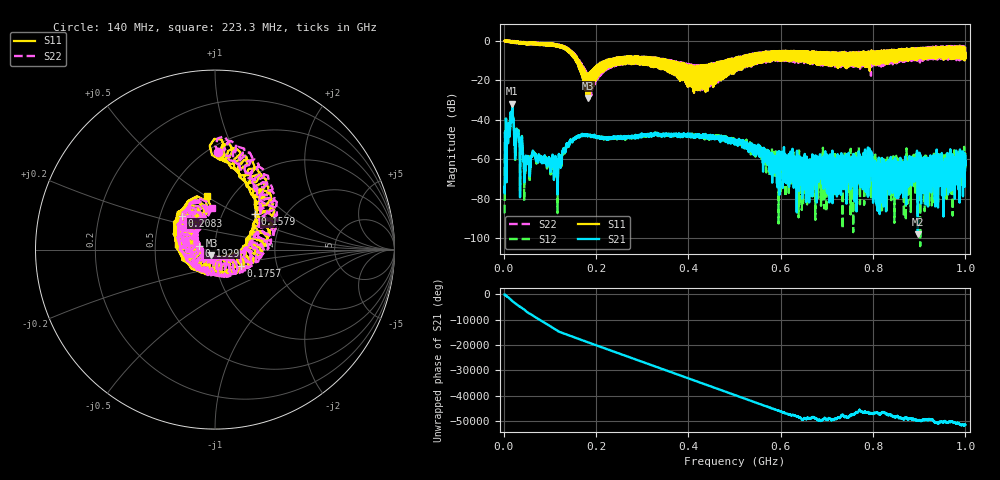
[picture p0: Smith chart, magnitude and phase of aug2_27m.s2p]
!Keysight Technologies N9923A: A.12.45
!Date: Saturday, 02 August 2025 19:16:05
!Timezone: (UTC+08:00) Kuala Lumpur, Singapore
!Model: N9923A
!Serial: MY61181427
!GPS Latitude:
!GPS Longitude:
!GPS TimeStamp: 0001-01-01 00:00:00Z
!GPS Seconds Since Last Read: 0
!CHECKSUM:0630107796
!Correction: S11(ON U)S21(ON U)S12(ON U)S22(ON U)
!S2P File: Measurements:S11,S21,S12,S22:
# Hz S DB R 50
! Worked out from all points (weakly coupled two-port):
!   4001 points, 2 MHz to 1 GHz, reference 50 ohm
!   highest |S21| = -31.86 dB at 18.72 MHz (marker M1); lowest = -98.1 dB at 897 MHz (marker M2)
!   lowest |S11| = -29.0 dB at 182.9 MHz (marker M3), VSWR 1.07, Z = 48 - j2.84 ohm
!   |S11| at or under -10 dB: 162.4 MHz to 223.4 MHz (61.05 MHz wide, 31.6 % of centre); 223.8 MHz to 225.1 MHz (1.349 MHz wide, 0.601 % of centre); 354.4 MHz to 483 MHz (128.6 MHz wide, 30.7 % of centre) (the widest 3 of 286)
!   |S22| runs from -29.4 to 0.1 dB; largest |S21 - S12| = 0.0027
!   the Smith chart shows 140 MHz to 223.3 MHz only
!   S11 on the Smith chart (normalised r, x): 140 MHz: 0.58, +0.87; 157.9 MHz: 1.42, +0.61; 175.7 MHz: 1.31, -0.25; 192.9 MHz: 0.83, +0.04; 208.3 MHz: 0.65, +0.26; 223.3 MHz: 0.77, +0.50
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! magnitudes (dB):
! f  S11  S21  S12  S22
! 2 MHz  -0.1  -74.1  -87.5  -0.1
! 7.739 MHz  -0.4  -44.5  -44.5  -0.6
! 18.72 MHz  -0.6  -31.9  -31.9  -0.5
! 46.91 MHz  -0.8  -65.8  -65.1  -0.8
! 64.62 MHz  -1.8  -57.6  -57.3  -1.9
! 113 MHz  -2.9  -59.6  -59.2  -2.7
! 140 MHz  -5.4  -53.3  -52.8  -5.3
! 157.9 MHz  -10.5  -48.7  -48.7  -9.3
! 168.4 MHz  -14.9  -47.5  -47.5  -15.5
! 175.7 MHz  -15.2  -47.6  -47.8  -14.5
! 182.9 MHz  -29.0  -48.1  -48.2  -23.8
! 192.9 MHz  -20.7  -47.8  -48.5  -24.6
! 208.3 MHz  -11.5  -49.1  -49.2  -13.7
! 223.3 MHz  -10.4  -49.3  -49.2  -12.7
! 334.8 MHz  -11.8  -47.2  -47.3  -9.4
! 417.2 MHz  -24.4  -48.4  -48.8  -15.9
! 501 MHz  -12.0  -50.7  -51.2  -13.9
! 667.4 MHz  -6.3  -61.4  -68.5  -10.6
! 794.9 MHz  -8.3  -67.6  -65.5  -7.4
! 833.8 MHz  -6.2  -60.7  -66.5  -8.0
! 897 MHz  -7.9  -98.1  -66.3  -4.8
! 1 GHz  -6.1  -61.1  -62.5  -2.9
